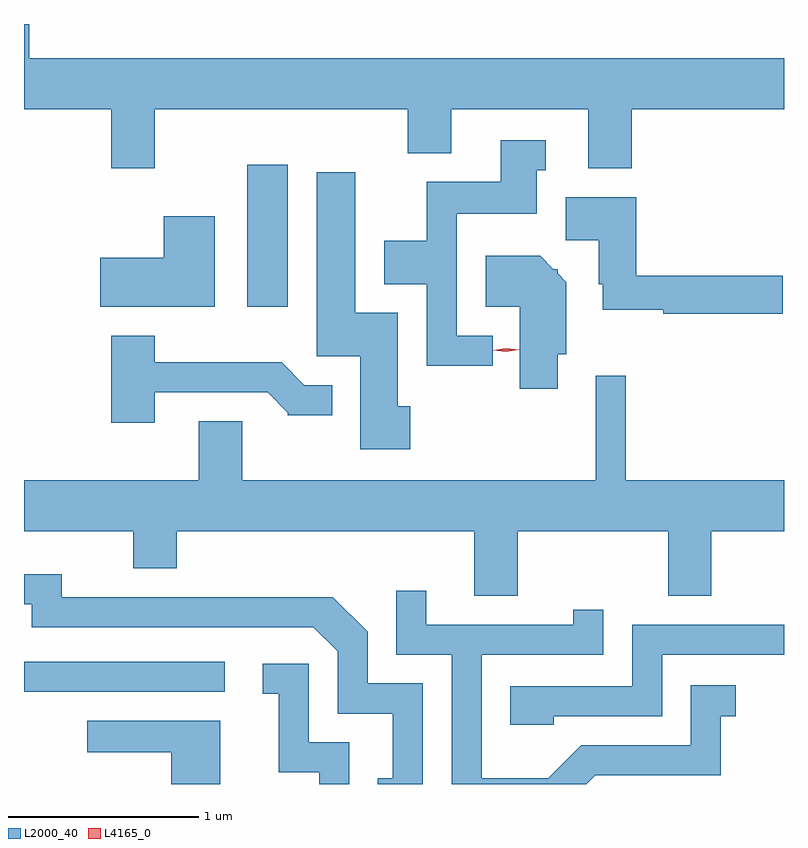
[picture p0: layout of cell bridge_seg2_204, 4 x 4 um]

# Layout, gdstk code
import gdstk
lib = gdstk.Library(unit=1e-6, precision=1e-09)
def R(c, l, rs):  # rectangles x0, y0, x1, y1
    for r in rs: c.add(gdstk.rectangle(r[:2], r[2:], *l))
def P(c, l, *ps):  # polygons
    for p in ps: c.add(gdstk.Polygon(p, *l))
L2000_40 = (2000, 40)
L4165_0 = (4165, 0)

bridge_seg2_204 = lib.new_cell('bridge_seg2_204')
R(bridge_seg2_204, L2000_40, [(920.821,998.631,921.878,998.789), (921.996,1000.656,922.209,1001.404)])
P(bridge_seg2_204, L2000_40, [(921.509,1001.696),(922.841,1001.696),(922.841,1001.466),(923.069,1001.466),(923.069,1001.696),(923.791,1001.696),(923.791,1001.386),(924.019,1001.386),(924.019,1001.696),(924.821,1001.696),(924.821,1001.964),(920.849,1001.964),(920.849,1002.145),(920.821,1002.145),(920.821,1001.696),(921.281,1001.696),(921.281,1001.386),(921.509,1001.386)],
  [(923.288,1000.504),(923.099,1000.504),(923.099,1001.146),(923.519,1001.146),(923.519,1001.376),(923.568,1001.376),(923.568,1001.534),(923.331,1001.534),(923.331,1001.314),(922.941,1001.314),(922.941,1001.004),(922.716,1001.004),(922.716,1000.776),(922.941,1000.776),(922.941,1000.346),(923.288,1000.346)],
  [(922.854,1000.134),(922.789,1000.134),(922.789,1000.624),(922.564,1000.624),(922.564,1001.364),(922.361,1001.364),(922.361,1000.396),(922.591,1000.396),(922.591,999.906),(922.854,999.906)],
  [(924.814,1000.819),(924.044,1000.819),(924.044,1001.234),(923.671,1001.234),(923.671,1001.006),(923.846,1001.006),(923.846,1000.776),(923.866,1000.776),(923.866,1000.641),(924.186,1000.641),(924.186,1000.621),(924.814,1000.621)],
  [(921.824,1001.134),(921.556,1001.134),(921.556,1000.914),(921.221,1000.914),(921.221,1000.656),(921.824,1000.656)],
  [(923.629,1000.406),(923.674,1000.406),(923.674,1000.787),(923.629,1000.832),(923.629,1000.854),(923.607,1000.854),(923.537,1000.924),(923.251,1000.924),(923.251,1000.656),(923.431,1000.656),(923.431,1000.226),(923.629,1000.226)],
  [(921.509,1000.206),(922.104,1000.206),(922.21,1000.1),(922.21,1000.086),(922.443,1000.086),(922.443,1000.244),(922.297,1000.244),(922.177,1000.364),(921.509,1000.364),(921.509,1000.504),(921.281,1000.504),(921.281,1000.046),(921.509,1000.046)],
  [(923.419,999.476),(924.211,999.476),(924.211,999.136),(924.439,999.136),(924.439,999.476),(924.821,999.476),(924.821,999.744),(923.989,999.744),(923.989,1000.293),(923.831,1000.293),(923.831,999.744),(921.969,999.744),(921.969,1000.054),(921.741,1000.054),(921.741,999.744),(920.821,999.744),(920.821,999.476),(921.396,999.476),(921.396,999.281),(921.624,999.281),(921.624,999.476),(923.191,999.476),(923.191,999.136),(923.419,999.136)],
  [(922.919,998.674),(922.629,998.674),(922.629,998.947),(922.447,999.129),(921.019,999.129),(921.019,999.249),(920.821,999.249),(920.821,999.091),(920.861,999.091),(920.861,998.971),(922.344,998.971),(922.471,998.844),(922.471,998.516),(922.761,998.516),(922.761,998.174),(922.683,998.174),(922.683,998.145),(922.919,998.145)],
  [(923.827,998.191),(924.489,998.191),(924.489,998.501),(924.568,998.501),(924.568,998.664),(924.331,998.664),(924.331,998.349),(923.754,998.349),(923.579,998.174),(923.229,998.174),(923.229,998.826),(923.869,998.826),(923.869,999.063),(923.711,999.063),(923.711,998.984),(922.939,998.984),(922.939,999.163),(922.781,999.163),(922.781,998.826),(923.071,998.826),(923.071,998.145),(923.781,998.145)],
  [(923.609,998.501),(924.179,998.501),(924.179,998.826),(924.821,998.826),(924.821,998.984),(924.021,998.984),(924.021,998.659),(923.381,998.659),(923.381,998.456),(923.609,998.456)],
  [(922.534,998.364),(922.319,998.364),(922.319,998.779),(922.078,998.779),(922.078,998.621),(922.161,998.621),(922.161,998.206),(922.376,998.206),(922.376,998.145),(922.534,998.145)],
  [(921.854,998.479),(921.153,998.479),(921.153,998.311),(921.596,998.311),(921.596,998.145),(921.854,998.145)])
P(bridge_seg2_204, L4165_0, [(923.358,1000.419),(923.289,1000.427),(923.289,1000.428),(923.289,1000.428),(923.358,1000.439),(923.426,1000.431),(923.427,1000.43),(923.426,1000.43)])

lib.write_gds('bridge_seg2_204.gds')
